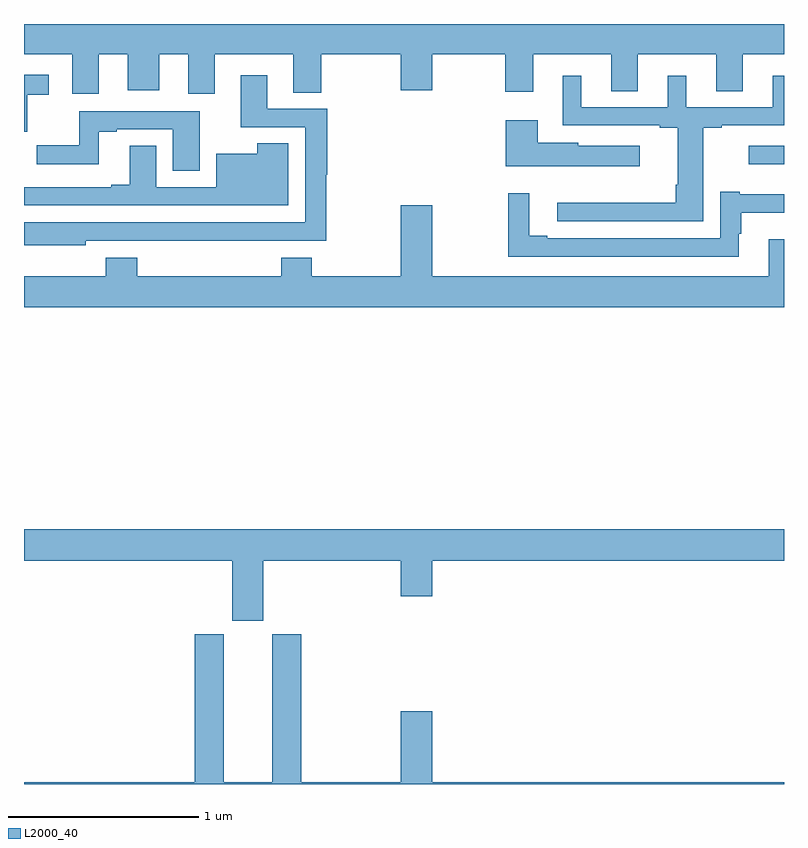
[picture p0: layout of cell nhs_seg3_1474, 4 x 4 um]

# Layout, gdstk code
import gdstk
lib = gdstk.Library(unit=1e-6, precision=1e-09)
def R(c, l, rs):  # rectangles x0, y0, x1, y1
    for r in rs: c.add(gdstk.rectangle(r[:2], r[2:], *l))
def P(c, l, *ps):  # polygons
    for p in ps: c.add(gdstk.Polygon(p, *l))
L2000_40 = (2000, 40)

nhs_seg3_1474 = lib.new_cell('nhs_seg3_1474')
R(nhs_seg3_1474, L2000_40, [(190.815,709.661,191,709.758)])
P(nhs_seg3_1474, L2000_40, [(187.393,710.24),(187.547,710.24),(187.547,710.052),(187.711,710.052),(187.711,710.24),(187.865,710.24),(187.865,710.034),(188.005,710.034),(188.005,710.24),(188.417,710.24),(188.417,710.038),(188.565,710.038),(188.565,710.24),(188.984,710.24),(188.984,710.052),(189.148,710.052),(189.148,710.24),(189.532,710.24),(189.532,710.043),(189.679,710.043),(189.679,710.24),(190.091,710.24),(190.091,710.047),(190.231,710.047),(190.231,710.24),(190.643,710.24),(190.643,710.047),(190.783,710.047),(190.783,710.24),(191,710.24),(191,710.4),(187,710.4),(187,710.24),(187.253,710.24),(187.253,710.034),(187.393,710.034)],
  [(187.018,710.028),(187.129,710.028),(187.129,710.134),(187,710.134),(187,709.833),(187.018,709.833)],
  [(187.326,709.26),(187.678,709.26),(187.678,709.259),(188.27,709.259),(188.27,709.26),(188.59,709.26),(188.59,709.607),(188.597,709.607),(188.597,709.953),(188.281,709.953),(188.281,710.131),(188.141,710.131),(188.141,709.857),(188.481,709.857),(188.481,709.356),(187,709.356),(187,709.235),(187.326,709.235)],
  [(190.576,709.854),(190.672,709.854),(190.672,709.866),(191,709.866),(191,710.128),(190.94,710.128),(190.94,709.962),(190.486,709.962),(190.486,710.128),(190.388,710.128),(190.388,709.962),(189.934,709.962),(189.934,710.128),(189.836,710.128),(189.836,709.866),(190.346,709.866),(190.346,709.854),(190.442,709.854),(190.442,709.555),(190.43,709.555),(190.43,709.46),(189.807,709.46),(189.807,709.362),(190.576,709.362)],
  [(187.924,709.941),(187.291,709.941),(187.291,709.763),(187.068,709.763),(187.068,709.662),(187.393,709.662),(187.393,709.833),(187.489,709.833),(187.489,709.845),(187.784,709.845),(187.784,709.627),(187.924,709.627)],
  [(190.24,709.759),(189.918,709.759),(189.918,709.774),(189.703,709.774),(189.703,709.894),(189.536,709.894),(189.536,709.652),(190.24,709.652)],
  [(188.392,709.772),(188.228,709.772),(188.228,709.717),(188.012,709.717),(188.012,709.542),(187.696,709.542),(187.696,709.76),(187.556,709.76),(187.556,709.555),(187.46,709.555),(187.46,709.542),(187,709.542),(187,709.446),(188.116,709.446),(188.116,709.445),(188.392,709.445)],
  [(190.762,709.295),(190.774,709.295),(190.774,709.406),(191,709.406),(191,709.504),(190.768,709.504),(190.768,709.516),(190.665,709.516),(190.665,709.272),(189.754,709.272),(189.754,709.285),(189.658,709.285),(189.658,709.51),(189.549,709.51),(189.549,709.176),(190.762,709.176)],
  [(191,709.267),(190.919,709.267),(190.919,709.072),(189.148,709.072),(189.148,709.447),(188.984,709.447),(188.984,709.072),(188.514,709.072),(188.514,709.171),(188.354,709.171),(188.354,709.072),(187.595,709.072),(187.595,709.171),(187.43,709.171),(187.43,709.072),(187,709.072),(187,708.908),(191,708.908)],
  [(188.26,707.576),(188.984,707.576),(188.984,707.388),(189.148,707.388),(189.148,707.576),(191,707.576),(191,707.74),(187,707.74),(187,707.576),(188.096,707.576),(188.096,707.259),(188.26,707.259)],
  [(191,706.408),(189.148,706.408),(189.148,706.783),(188.984,706.783),(188.984,706.408),(188.459,706.408),(188.459,707.187),(188.306,707.187),(188.306,706.408),(188.05,706.408),(188.05,707.187),(187.898,707.187),(187.898,706.408),(187,706.408),(187,706.4),(191,706.4)])

lib.write_gds('nhs_seg3_1474.gds')
